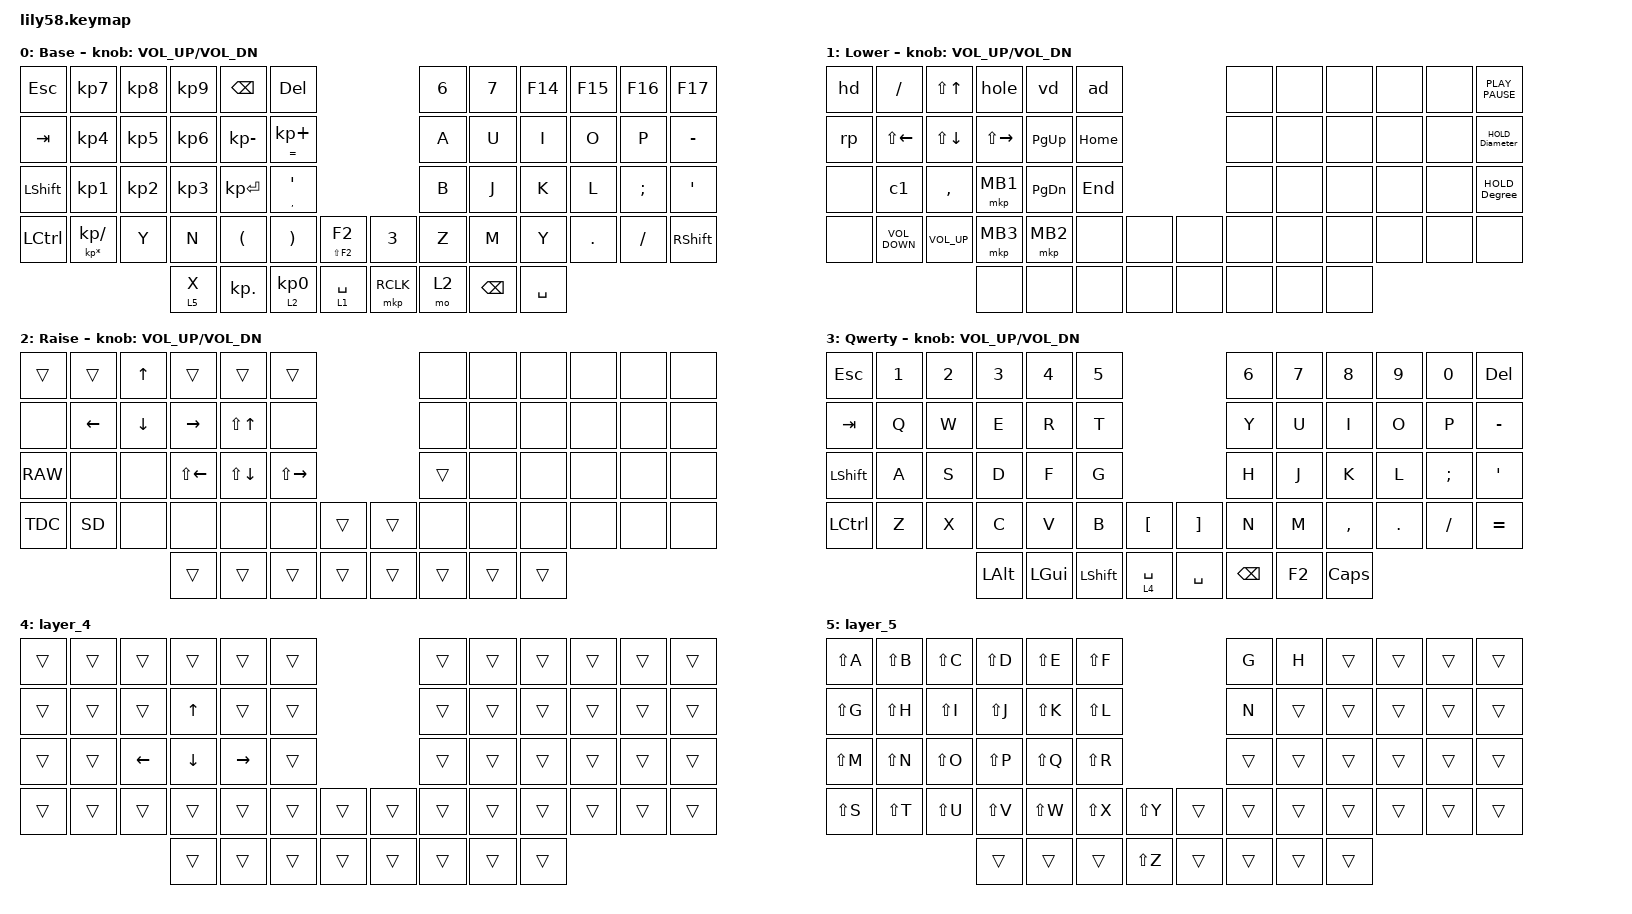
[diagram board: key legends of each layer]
/*
 * Copyright (c) 2020 The ZMK Contributors
 *
 * SPDX-License-Identifier: MIT
 */

#include <behaviors.dtsi>
#include <dt-bindings/zmk/keys.h>
#include <dt-bindings/zmk/pointing.h>

/ {
    combos {
        compatible = "zmk,combos";

        undo {
            bindings = <&kp LC(Z)>;
            key-positions = <0 1>;
            layers = <0 3>;
        };

        redo {
            bindings = <&mt LC(LS(Y)) LC(Y)>;
            key-positions = <2 3>;
            layers = <0 3>;
        };

        C_p {
            bindings = <&mt LC(LS(P)) LC(P)>;
            key-positions = <1 2>;
            layers = <0 3>;
        };

        C_R {
            bindings = <&kp LC(R)>;
            key-positions = <12 13>;
            layers = <0 3>;
        };

        C_k {
            bindings = <&mt LC(LS(K)) LC(K)>;
            key-positions = <14 15>;
            timeout-ms = <30>;
            require-prior-idle-ms = <150>;
            layers = <0 3>;
        };

        C_s {
            bindings = <&mt LC(LS(S)) LC(S)>;
            key-positions = <13 14>;
            layers = <0 3>;
            timeout-ms = <30>;
            require-prior-idle-ms = <150>;
        };

        C_c {
            bindings = <&mt LS(LC(C)) LC(C)>;
            key-positions = <24 25>;
            layers = <0 3>;
            timeout-ms = <30>;
            require-prior-idle-ms = <150>;
        };

        C_v {
            bindings = <&mt LS(LC(V)) LC(V)>;
            key-positions = <26 27>;
            layers = <0 3>;
            timeout-ms = <30>;
            require-prior-idle-ms = <150>;
        };

        C_a {
            bindings = <&mt LC(LS(A)) LC(A)>;
            key-positions = <25 26>;
            layers = <0 3>;
            timeout-ms = <30>;
            require-prior-idle-ms = <150>;
        };

        CA_v {
            bindings = <&kp LC(LG(LA(V)))>;
            key-positions = <14 27>;
            layers = <0 3>;
            timeout-ms = <30>;
            require-prior-idle-ms = <150>;
        };

        C_w {
            bindings = <&mt LC(LS(W)) LC(W)>;
            key-positions = <36 37>;
            layers = <0 3>;
            timeout-ms = <30>;
            require-prior-idle-ms = <150>;
        };

        C_d {
            bindings = <&mt LC(LS(D)) LC(D)>;
            key-positions = <38 39>;
            layers = <0 3>;
            timeout-ms = <30>;
            require-prior-idle-ms = <150>;
        };

        C_g {
            bindings = <&mt LC(LS(G)) LC(G)>;
            key-positions = <37 38>;
            layers = <0 3>;
            timeout-ms = <30>;
            require-prior-idle-ms = <150>;
        };

        C_A_D {
            bindings = <&ctrl_alt_del>;
            key-positions = <11 10 9>;
            layers = <0 3>;
        };

        Pa {
            bindings = <&pa>;
            key-positions = <22 23 21>;
            layers = <0 3>;
        };

        Greenshot {
            bindings = <&mt LS(LC(F13)) LC(F13)>;
            key-positions = <0 36>;
            layers = <0 3>;
        };

        Draw {
            bindings = <&mt LS(LC(F14)) LC(F14)>;
            key-positions = <1 37>;
            layers = <0 3>;
        };

        enter {
            bindings = <&kp ENTER>;
            key-positions = <19 20>;
            require-prior-idle-ms = <170>;
            timeout-ms = <50>;
            layers = <0 3>;
        };

        Toggle_keyboard {
            bindings = <&toggle>;
            key-positions = <26 27 28>;
            layers = <0 3>;
        };

        Invert {
            bindings = <&kp LC(LG(C))>;
            key-positions = <4 17>;
            layers = <0 3>;
        };

        Text_Screenshot {
            bindings = <&kp LS(LC(L))>;
            key-positions = <0 37>;
            layers = <0 3>;
        };

        Win_tab {
            bindings = <&kp LG(TAB)>;
            key-positions = <42 53>;
            layers = <0 3>;
        };

        S_F3 {
            bindings = <&mt LS(LC(F3)) LC(F3)>;
            key-positions = <40 41>;
            layers = <0 3>;
        };
    };

    macros {
        pa: pa {
            compatible = "zmk,behavior-macro";
            #binding-cells = <0>;
            bindings = <&none &kp LS(T) &kp E &kp N &kp N &kp I &kp S &kp SPACE &kp LS(S) &kp A &kp L &kp A &kp D &kp SPACE &kp LS(F) &kp L &kp U &kp T &kp E &kp SPACE &kp LS(B) &kp A &kp S &kp S &kp N8 &kp N7 &kp POUND &kp ENTER>;
            label = "PA";
            wait-ms = <20>;
        };

        ctrl_alt_del: ctrl_alt_del {
            compatible = "zmk,behavior-macro";
            #binding-cells = <0>;
            bindings = <&none &kp LC(LA(DELETE)) &kp ENTER>;
            label = "CTRL_ALT_DEL";
        };

        hole: hole {
            compatible = "zmk,behavior-macro";
            #binding-cells = <0>;
            bindings = <&none &kp LS(H) &kp LS(O) &kp LS(L) &kp LS(E)>;
            label = "HOLE";
        };

        vd: vd {
            compatible = "zmk,behavior-macro";
            #binding-cells = <0>;
            bindings = <&none &kp LS(V) &kp LS(D)>;
            label = "VD";
        };

        ad: ad {
            compatible = "zmk,behavior-macro";
            #binding-cells = <0>;
            bindings = <&none &kp LS(A) &kp LS(D)>;
            label = "AD";
        };

        rp: rp {
            compatible = "zmk,behavior-macro";
            #binding-cells = <0>;
            bindings = <&none &kp LS(R) &kp LS(P)>;
            label = "RP";
        };

        hd: hd {
            compatible = "zmk,behavior-macro";
            #binding-cells = <0>;
            bindings = <&none &kp LS(H) &kp LS(D)>;
            label = "HD";
        };

        c1: c1 {
            compatible = "zmk,behavior-macro";
            #binding-cells = <0>;
            bindings = <&none &kp AT &kp LS(C) &kp N1>;
            label = "C1";
        };

        toggle: toggle {
            compatible = "zmk,behavior-macro";
            #binding-cells = <0>;
            bindings = <&tog 3 &kp LC(F24)>;
            label = "TOGGLE";
        };

        HOLD_Diameter: HOLD_Diameter {
            compatible = "zmk,behavior-macro";
            #binding-cells = <0>;
            bindings = <&kt LALT &kp KP_NUMBER_0 &kp KP_NUMBER_2 &kp LC(KP_NUMBER_4) &kp KP_NUMBER_8 &kt LEFT_ALT>;
            label = "HOLD_DIAMETER";
        };

        HOLD_Degree: HOLD_Degree {
            compatible = "zmk,behavior-macro";
            #binding-cells = <0>;
            bindings = <&kt LALT &kp KP_NUMBER_0 &kp KP_NUMBER_1 &kp KP_NUMBER_7 &kp KP_NUMBER_6 &kt LEFT_ALT>;
            label = "HOLD_DEGREE";
        };

        SD: SD {
            compatible = "zmk,behavior-macro";
            #binding-cells = <0>;
            bindings = <&kp LS(S) &kp AMPS &kp LS(D)>;
            label = "SD";
        };

        TDC: TDC {
            compatible = "zmk,behavior-macro";
            #binding-cells = <0>;
            bindings = <&kp LS(T) &kp LS(D) &kp LS(C)>;
            label = "TDC";
        };

        RAW: RAW {
            compatible = "zmk,behavior-macro";
            #binding-cells = <0>;
            bindings = <&kp LS(R) &kp LS(A) &kp LS(W)>;
            label = "RAW";
        };
    };

    keymap {
        compatible = "zmk,keymap";

        default_layer {
            // ------------------------------------------------------------------------------------------------------------
            // |  ESC  |  1  |  2  |  3   |  4   |  5   |                   |  6   |  7    |  8    |  9   |   0   |   `   |
            // |  TAB  |  Q  |  W  |  E   |  R   |  T   |                   |  Y   |  U    |  I    |  O   |   P   |   -   |
            // |  CTRL |  A  |  S  |  D   |  F   |  G   |                   |  H   |  J    |  K    |  L   |   ;   |   '   |
            // | SHIFT |  Z  |  X  |  C   |  V   |  B   |   "["  |  |  "]"  |  N   |  M    |  ,    |  .   |   /   | SHIFT |
            //                     | ALT  | GUI  | LOWER|  SPACE |  | ENTER | RAISE| BSPC  | GUI   |

            display-name = "Base";
            bindings = <
&kp ESC         &kp KP_NUMBER_7           &kp KP_NUMBER_8  &kp KP_NUMBER_9  &kp BACKSPACE         &kp DEL                                            &kp N6  &kp N7    &kp F14    &kp F15  &kp F16   &kp F17
&kp TAB         &kp KP_NUMBER_4           &kp KP_NUMBER_5  &kp KP_NUMBER_6  &kp KP_MINUS          &mt EQUAL KP_PLUS                                  &kp A   &kp U     &kp I      &kp O    &kp P     &kp MINUS
&kp LEFT_SHIFT  &kp KP_NUMBER_1           &kp KP_NUMBER_2  &kp KP_NUMBER_3  &kp KP_ENTER          &mt COMMA APOS                                     &kp B   &kp J     &kp K      &kp L    &kp SEMI  &kp SQT
&kp LCTRL       &mt KP_ASTERISK KP_SLASH  &kp Y            &kp N            &kp LEFT_PARENTHESIS  &kp RIGHT_PARENTHESIS  &mt LS(F2) F2    &kp N3     &kp Z   &kp M     &kp Y      &kp DOT  &kp FSLH  &kp RSHFT
                                                           &lt 5 X          &kp KP_DOT            &lt 2 KP_NUMBER_0      &lt 1 SPACE      &mkp RCLK  &mo 2   &kp BSPC  &kp SPACE
            >;

            sensor-bindings = <&inc_dec_kp C_VOL_UP C_VOL_DN>;
            label = "Base";
        };

        lower_layer {
            // ------------------------------------------------------------------------------------------------------------
            // | BTCLR | BT1 | BT2 |  BT3 |  BT4 |  BT5 |                   |      |       |       |      |       |       |
            // |  F1   |  F2 |  F3 |  F4  |  F5  |  F6  |                   |  F7  |  F8   |  F9   |  F10 |  F11  |  F12  |
            // |   `   |  !  |  @  |  #   |  $   |  %   |                   |  ^   |  &    |  *    |  (   |   )   |   ~   |
            // |       |     |     |      |      |      |        |  |       |      |  _    |  +    |  {   |   }   |  "|"  |
            //                     |      |      |      |        |  |       |      |       |       |

            display-name = "Lower";
            bindings = <
&hd    &kp FSLH            &kp LS(UP_ARROW)    &hole                &vd            &ad                       &none  &none  &none  &none  &none  &kp K_PLAY_PAUSE
&rp    &kp LS(LEFT_ARROW)  &kp LS(DOWN_ARROW)  &kp LS(RIGHT_ARROW)  &kp PG_UP      &kp HOME                  &none  &none  &none  &none  &none  &HOLD_Diameter
&none  &c1                 &kp COMMA           &mkp MB1             &kp PAGE_DOWN  &kp END                   &none  &none  &none  &none  &none  &HOLD_Degree
&none  &kp C_VOLUME_DOWN   &kp C_VOLUME_UP     &mkp MB3             &mkp MB2       &none     &none    &none  &none  &none  &none  &none  &none  &none
                                               &none                &none          &none     &none    &none  &none  &none  &none
            >;

            sensor-bindings = <&inc_dec_kp C_VOL_UP C_VOL_DN>;
        };

        raise_layer {
            // ------------------------------------------------------------------------------------------------------------
            // |       |     |     |      |      |      |                   |      |       |       |      |       |       |
            // |   `   |  1  |  2  |  3   |  4   |  5   |                   |  6   |   7   |   8   |  9   |   0   |       |
            // |   F1  |  F2 |  F3 |  F4  |  F5  |  F6  |                   |      |   <-  |   v   |  ^   |  ->   |       |
            // |   F7  |  F8 |  F9 |  F10 |  F11 |  F12 |        |  |       |  +   |   -   |   =   |  [   |   ]   |   \   |
            //                     |      |      |      |        |  |       |      |       |       |

            display-name = "Raise";
            bindings = <
&trans  &trans          &kp UP_ARROW    &trans              &trans              &trans                                 &none   &none   &none   &none  &none  &none
&none   &kp LEFT_ARROW  &kp DOWN_ARROW  &kp RIGHT_ARROW     &kp LS(UP_ARROW)    &none                                  &none   &none   &none   &none  &none  &none
&RAW    &none           &none           &kp LS(LEFT_ARROW)  &kp LS(DOWN_ARROW)  &kp LS(RIGHT_ARROW)                    &trans  &none   &none   &none  &none  &none
&TDC    &SD             &none           &none               &none               &none                &trans    &trans  &none   &none   &none   &none  &none  &none
                                        &trans              &trans              &trans               &trans    &trans  &trans  &trans  &trans
            >;

            sensor-bindings = <&inc_dec_kp C_VOL_UP C_VOL_DN>;
        };

        layer_3 {
            display-name = "Qwerty";
            bindings = <
&kp ESC         &kp N1  &kp N2  &kp N3    &kp N4    &kp N5                                            &kp N6    &kp N7  &kp N8     &kp N9   &kp N0    &kp DELETE
&kp TAB         &kp Q   &kp W   &kp E     &kp R     &kp T                                             &kp Y     &kp U   &kp I      &kp O    &kp P     &kp MINUS
&kp LEFT_SHIFT  &kp A   &kp S   &kp D     &kp F     &kp G                                             &kp H     &kp J   &kp K      &kp L    &kp SEMI  &kp APOS
&kp LCTRL       &kp Z   &kp X   &kp C     &kp V     &kp B      &kp LEFT_BRACKET    &kp RIGHT_BRACKET  &kp N     &kp M   &kp COMMA  &kp DOT  &kp FSLH  &kp EQUAL
                                &kp LALT  &kp LGUI  &kp LSHFT  &lt 4 SPACE         &kp SPACE          &kp BSPC  &kp F2  &kp CAPS
            >;

            sensor-bindings = <&inc_dec_kp C_VOL_UP C_VOL_DN>;
        };

        layer_4 {
            bindings = <
&trans  &trans  &trans          &trans          &trans           &trans                    &trans  &trans  &trans  &trans  &trans  &trans
&trans  &trans  &trans          &kp UP_ARROW    &trans           &trans                    &trans  &trans  &trans  &trans  &trans  &trans
&trans  &trans  &kp LEFT_ARROW  &kp DOWN_ARROW  &kp RIGHT_ARROW  &trans                    &trans  &trans  &trans  &trans  &trans  &trans
&trans  &trans  &trans          &trans          &trans           &trans  &trans    &trans  &trans  &trans  &trans  &trans  &trans  &trans
                                &trans          &trans           &trans  &trans    &trans  &trans  &trans  &trans
            >;
        };

        layer_5 {
            bindings = <
&kp LS(A)  &kp LS(B)  &kp LS(C)  &kp LS(D)  &kp LS(E)  &kp LS(F)                       &kp G   &kp H   &trans  &trans  &trans  &trans
&kp LS(G)  &kp LS(H)  &kp LS(I)  &kp LS(J)  &kp LS(K)  &kp LS(L)                       &kp N   &trans  &trans  &trans  &trans  &trans
&kp LS(M)  &kp LS(N)  &kp LS(O)  &kp LS(P)  &kp LS(Q)  &kp LS(R)                       &trans  &trans  &trans  &trans  &trans  &trans
&kp LS(S)  &kp LS(T)  &kp LS(U)  &kp LS(V)  &kp LS(W)  &kp LS(X)  &kp LS(Y)    &trans  &trans  &trans  &trans  &trans  &trans  &trans
                                 &trans     &trans     &trans     &kp LS(Z)    &trans  &trans  &trans  &trans
            >;
        };
    };
};
